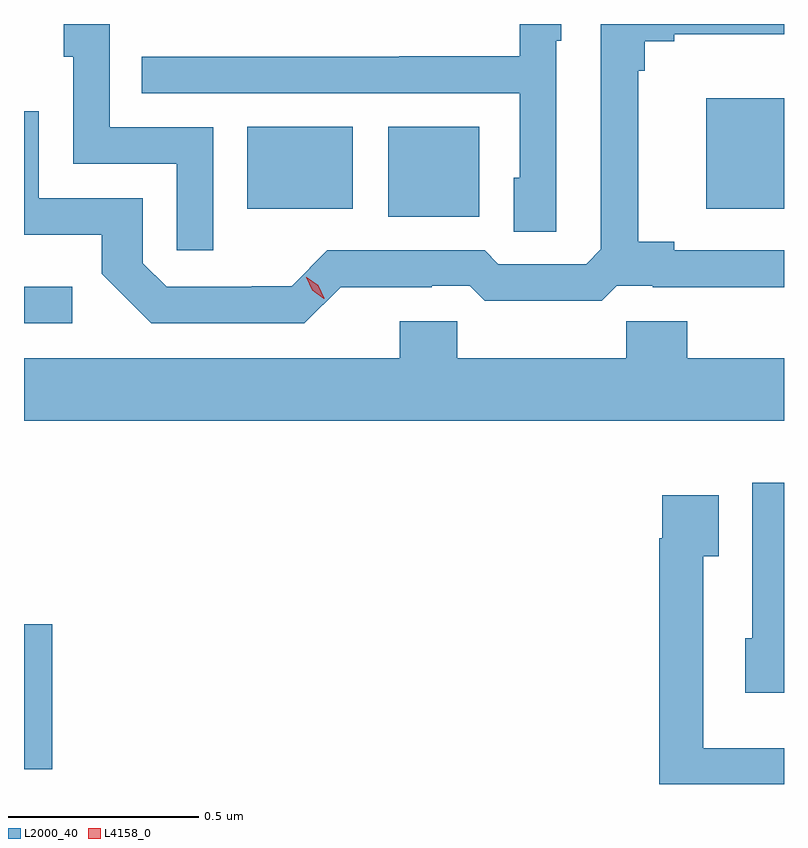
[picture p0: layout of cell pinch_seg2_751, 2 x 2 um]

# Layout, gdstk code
import gdstk
lib = gdstk.Library(unit=1e-6, precision=1e-09)
def R(c, l, rs):  # rectangles x0, y0, x1, y1
    for r in rs: c.add(gdstk.rectangle(r[:2], r[2:], *l))
def P(c, l, *ps):  # polygons
    for p in ps: c.add(gdstk.Polygon(p, *l))
L2000_40 = (2000, 40)
L4158_0 = (4158, 0)

pinch_seg2_751 = lib.new_cell('pinch_seg2_751')
R(pinch_seg2_751, L2000_40, [(780.381,644.055,780.455,644.436), (780.381,645.228,780.508,645.325), (781.34,645.509,781.579,645.745), (780.968,645.53,781.246,645.745), (782.177,645.53,782.381,645.82)])
P(pinch_seg2_751, L2000_40, [(781.214,645.323),(781.454,645.323),(781.454,645.327),(781.554,645.327),(781.594,645.288),(781.901,645.288),(781.941,645.327),(782.035,645.327),(782.035,645.323),(782.381,645.323),(782.381,645.42),(782.092,645.42),(782.092,645.443),(781.997,645.443),(781.997,645.893),(782.015,645.893),(782.015,645.97),(782.092,645.97),(782.092,645.989),(782.381,645.989),(782.381,646.016),(781.899,646.016),(781.899,645.423),(781.86,645.384),(781.629,645.384),(781.593,645.42),(781.179,645.42),(781.085,645.326),(780.98,645.326),(780.98,645.324),(780.756,645.324),(780.693,645.387),(780.693,645.558),(780.42,645.558),(780.42,645.787),(780.381,645.787),(780.381,645.461),(780.586,645.461),(780.586,645.359),(780.716,645.228),(781.119,645.228)],
  [(781.782,645.972),(781.795,645.972),(781.795,646.016),(781.686,646.016),(781.686,645.931),(781.369,645.931),(781.369,645.93),(780.691,645.93),(780.691,645.834),(781.686,645.834),(781.686,645.612),(781.67,645.612),(781.67,645.469),(781.782,645.469)],
  [(780.879,645.744),(780.606,645.744),(780.606,646.016),(780.485,646.016),(780.485,645.93),(780.51,645.93),(780.51,645.648),(780.783,645.648),(780.783,645.42),(780.879,645.42)],
  [(782.381,645.136),(782.126,645.136),(782.126,645.234),(781.966,645.234),(781.966,645.136),(781.521,645.136),(781.521,645.234),(781.37,645.234),(781.37,645.136),(780.381,645.136),(780.381,644.972),(782.381,644.972)],
  [(782.381,644.809),(782.297,644.809),(782.297,644.4),(782.279,644.4),(782.279,644.256),(782.381,644.256)],
  [(782.381,644.11),(782.169,644.11),(782.169,644.615),(782.209,644.615),(782.209,644.776),(782.061,644.776),(782.061,644.663),(782.053,644.663),(782.053,644.016),(782.381,644.016)])
P(pinch_seg2_751, L4158_0, [(781.17,645.293),(781.14,645.315),(781.124,645.349),(781.124,645.349),(781.125,645.349),(781.155,645.328),(781.171,645.294),(781.171,645.293)])

lib.write_gds('pinch_seg2_751.gds')
